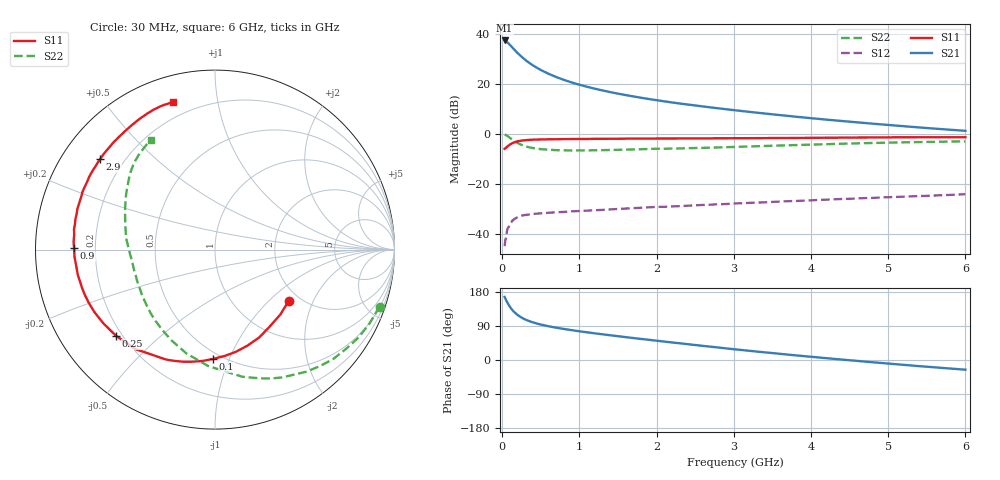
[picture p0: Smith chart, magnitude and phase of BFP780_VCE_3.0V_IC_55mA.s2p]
! Infineon Technologies  Discrete & RF Semiconductors
! BFP780
! VCE =  3.0 V,  IC =  55 mA
! Common Emitter S-Parameters:  Jul 2015
# GHz  S  MA  R  50
!  f  S11  S21  S12  S22
! GHz  MAG  ANG  MAG  ANG  MAG  ANG  MAG  ANG
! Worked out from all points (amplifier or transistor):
!   75 points, 30 MHz to 6 GHz, reference 50 ohm
!   highest |S21| = 37.4 dB at 30 MHz (marker M1)
!   |S21| within 3 dB of that: start of sweep to 135.6 MHz
!   unconditionally stable (mu >= 1): 2.011 GHz to end of sweep
!   at 150 MHz: K = 0.13, MSG = 34.1 dB, |S12| = -34.3 dB
!   at 2.3 GHz: K = 1.10, MAG = 18.7 dB, |S12| = -29.0 dB
!   at 6 GHz: K = 1.30, MAG = 9.4 dB, |S12| = -24.2 dB
!   S11 on the Smith chart (normalised r, x): 30 MHz: 1.76, -1.33; 100 MHz: 0.45, -0.88; 250 MHz: 0.18, -0.36; 900 MHz: 0.12, +0.00; 2.9 GHz: 0.11, +0.34; 6 GHz: 0.12, +0.75
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0.03  0.5002 -34.6  74.34 166.5  0.0056 75.8  0.9701 -19.1
0.05  0.5261 -54.6  71.18 157.6  0.0084 68.4  0.9377 -31.5
0.06  0.5478 -63.2  69.29 153.8  0.0111 64.0  0.9159 -37.2
0.08  0.5813 -78.4  64.97 146.4  0.0133 61.7  0.8739 -47.9
0.1  0.6088 -90.9  60.35 140.1  0.0152 50.1  0.8251 -57.5
0.12  0.6376 -101.6  55.9 134.4  0.0171 50.3  0.7824 -66.6
0.15  0.6705 -114.0  49.81 127.4  0.0193 43.3  0.7244 -77.9
0.2  0.7095 -128.6  41.38 118.5  0.0215 37.7  0.6496 -93.4
0.25  0.7311 -138.9  35.07 111.8  0.0228 32.6  0.5996 -105.5
0.3  0.7455 -146.6  30.14 106.6  0.0237 28.6  0.5616 -115.4
0.35  0.7563 -152.5  26.36 102.5  0.0242 26.4  0.5355 -123.3
0.45  0.7677 -160.8  20.97 96.1  0.0252 23.3  0.5042 -135.3
0.6  0.7771 -169.5  15.94 89.0  0.0262 21.9  0.4798 -147.8
0.9  0.7852 179.5  10.7 78.7  0.0279 21.0  0.4637 -163.0
1.1  0.7888 174.1  8.738 73.0  0.0289 21.3  0.465 -169.7
1.5  0.7959 165.6  6.379 62.8  0.0312 22.2  0.4771 -179.1
2.1  0.8055 154.8  4.474 48.6  0.0344 22.6  0.5022 170.8
2.9  0.8146 141.9  3.11 30.7  0.0392 22.3  0.5401 158.1
3.1  0.8176 139.0  2.866 26.4  0.0406 22.2  0.5519 155.1
4.1  0.8321 124.9  1.991 6.6  0.0473 20.2  0.6137 141.9
5.1  0.8515 113.8  1.463 -11.1  0.0542 16.6  0.67 130.6
6  0.8546 105.7  1.148 -25.6  0.0615 12.0  0.7069 120.4
